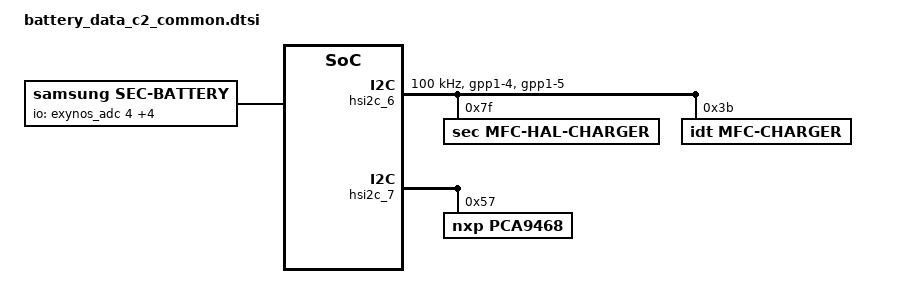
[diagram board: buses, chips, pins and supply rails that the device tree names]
/*
 * SAMSUNG UNIVERSAL9830 board device tree source
 *
 * Copyright (c) 2018 Samsung Electronics Co., Ltd.
 *		http://www.samsung.com
 *
 * This program is free software; you can redistribute it and/or modify
 * it under the terms of the GNU General Public License version 2 as
 * published by the Free Software Foundation.
 */
/ {
	fragment@battery {
		target-path = "/";
		__overlay__ {
			sec-direct-charger {
				status = "okay";
				compatible = "samsung,sec-direct-charger";

				charger,battery_name = "battery";
				charger,main_charger = "max77705-charger";
				charger,direct_charger = "pca9468-charger";

				charger,dchg_min_current = <2000>;
				charger,dchg_temp_low_threshold = <180>;
				charger,dchg_temp_high_threshold = <420>;
			};

			battery {
				status = "okay";
				compatible = "samsung,sec-battery";
				/* battery,irq_gpio = <&gpa1 6 0>; */

				battery,vendor = "Battery";
				battery,charger_name = "sec-direct-charger";
				battery,fuelgauge_name = "max77705-fuelgauge";
				battery,wireless_charger_name = "mfc-charger";
				battery,technology = <2>; /* POWER_SUPPLY_TECHNOLOGY_LION */
				battery,fgsrc_switch_name = "max77705-charger"; /* Fuelgauge voltage source */

				battery,batt_data_version = <2>;

				battery,chip_vendor = "LSI";
				battery,temp_adc_type = <1>; /* SEC_BATTERY_ADC_TYPE_AP */

				battery,temp_check_type = <2>; /* SEC_BATTERY_TEMP_CHECK_TEMP */
				battery,usb_temp_check_type = <2>;
				battery,chg_temp_check_type = <2>;
				battery,wpc_temp_check_type = <2>;
				battery,dchg_temp_check_type = <2>;

				battery,thermal_source = <2>; /* SEC_BATTERY_THERMAL_SOURCE_ADC */
				battery,usb_thermal_source = <2>;
				battery,chg_thermal_source = <2>;
				battery,wpc_thermal_source = <2>;
				battery,dchg_thermal_source = <3>; /* SEC_BATTERY_THERMAL_SOURCE_CHG_ADC */

				battery,polling_time = <10 30 30 30 3600>;

				battery,temp_table_adc = <314 368 425 491 571 663 771 895 1034 1191 1377
					1579 1795 2022 2259 2494 2730 2946 3154 3327 3484 3614 3718>;
				battery,temp_table_data = <900 850 800 750 700 650 600 550 500 450 400
					350 300 250 200 150 100 50 0 (-50) (-100) (-150) (-200)>;

				battery,usb_temp_table_adc = <299 351 410 479 561 657 767 894 1037 1198 1381
					1581 1795 2018 2251 2483 2708 2920 3116 3286 3433 3558 3656>;
				battery,usb_temp_table_data = <900 850 800 750 700 650 600 550 500 450 400
					350 300 250 200 150 100 50 0 (-50) (-100) (-150) (-200)>;

				battery,chg_temp_table_adc = <264 325 383 450 529 623 732 858 998 1153 1346
					1550 1771 2000 2240 2474 2717 2936 3134 3317 3480 3615 3706>;
				battery,chg_temp_table_data = <900 850 800 750 700 650 600 550 500 450 400
					350 300 250 200 150 100 50 0 (-50) (-100) (-150) (-200)>;

				battery,wpc_temp_table_adc = <314 368 425 491 571 663 771 895 1034 1191 1377
					1579 1795 2022 2259 2494 2730 2946 3154 3327 3484 3614 3718>;
				battery,wpc_temp_table_data = <900 850 800 750 700 650 600 550 500 450 400
					350 300 250 200 150 100 50 0 (-50) (-100) (-150) (-200)>;

				battery,dchg_temp_table_adc = <105570 131376 157182 187680 222870 262752 312018 368322 429318 499698 586500
					677994 776526 877404 985320 1088544 1196460 1294992 1379448 1463904 1531938 1590588 1635162>;
				battery,dchg_temp_table_data = <900 850 800 750 700 650 600 550 500 450 400
					350 300 250 200 150 100 50 0 (-50) (-100) (-150) (-200)>;

				battery,wireless_cc_cv = <85>;
				battery,wpc_cc_cv_vout = <5500>;
				battery,wpc_cv_call_vout = <5000>;
				battery,wpc_cc_call_vout = <5000>;
				battery,wpc_det = <&gpa2 0 0>;
				battery,wpc_en = <&gpm10 0 0>;
				battery,wpc_int = <&gpa3 2 0>;
				battery,hv_vout_wa = <0x41>; /* WC vout 10.0V */
				battery,adc_check_count = <5>;

				battery,cable_check_type = <4>; /* SEC_BATTERY_CABLE_CHECK_PSY */
				battery,cable_source_type = <1>; /* SEC_BATTERY_CABLE_SOURCE_EXTERNAL */
				battery,polling_type = <1>; /* SEC_BATTERY_MONITOR_ALARM */
				battery,monitor_initial_count = <0>;

				battery,battery_check_type = <0>; /* SEC_BATTERY_CHECK_NONE */
				battery,check_count = <0>;
				battery,check_adc_max = <1440>;
				battery,check_adc_min = <0>;

				battery,ovp_uvlo_check_type = <3>; /* SEC_BATTERY_OVP_UVLO_CHGPOLLING */

				battery,temp_check_count = <1>;
				battery,temp_highlimit_threshold_event = <700>;
				battery,temp_highlimit_recovery_event = <680>;
				battery,temp_high_threshold_event = <500>;
				battery,temp_high_recovery_event = <480>;
				battery,temp_low_threshold_event = <0>;
				battery,temp_low_recovery_event = <20>;
				battery,temp_highlimit_threshold_normal = <700>;
				battery,temp_highlimit_recovery_normal = <680>;
				battery,temp_high_threshold_normal = <500>;
				battery,temp_high_recovery_normal = <480>;
				battery,temp_low_threshold_normal = <0>;
				battery,temp_low_recovery_normal = <20>;
				battery,temp_highlimit_threshold_lpm = <700>;
				battery,temp_highlimit_recovery_lpm = <680>;
				battery,temp_high_threshold_lpm = <500>;
				battery,temp_high_recovery_lpm = <480>;
				battery,temp_low_threshold_lpm = <0>;
				battery,temp_low_recovery_lpm = <20>;
				battery,wpc_high_threshold_normal = <450>;
				battery,wpc_high_recovery_normal = <430>;
				battery,wpc_low_threshold_normal = <0>;
				battery,wpc_low_recovery_normal = <20>;
				battery,tx_high_threshold = <450>;
				battery,tx_high_recovery = <400>;
				battery,tx_low_threshold = <0>;
				battery,tx_low_recovery = <50>;
				battery,full_check_type = <2>; /* SEC_BATTERY_FULLCHARGED_FUELGAUGE */
				battery,full_check_type_2nd = <2>; /* SEC_BATTERY_FULLCHARGED_FUELGAUGE */
				battery,full_check_count = <1>;
				battery,chg_gpio_full_check = <0>;
				battery,chg_polarity_full_check = <1>;

				battery,chg_high_temp = <550>;
				battery,chg_high_temp_recovery = <490>;

				battery,dchg_high_temp = <530>;
				battery,dchg_high_temp_recovery = <470>;
				battery,dchg_high_batt_temp = <400>;
				battery,dchg_high_batt_temp_recovery = <380>;

				battery,chg_input_limit_current = <1000>;
				battery,chg_charging_limit_current = <1900>;
				battery,dchg_input_limit_current = <1000>;
				battery,dchg_charging_limit_current = <2000>;

				battery,charging_limit_by_tx_check = <1>;
				battery,charging_limit_current_by_tx = <1200>;

				battery,wpc_temp_control_source = <1>; /* TEMP_CONTROL_SOURCE_BAT_THM = WPC_THM */
				battery,wpc_high_temp = <390>;
				battery,wpc_high_temp_recovery = <370>;
				battery,wpc_input_limit_current = <600>;
				battery,wpc_charging_limit_current = <1000>;
				battery,wpc_temp_lcd_on_control_source = <1>; /* TEMP_CONTROL_SOURCE_BAT_THM = WPC_THM */
				battery,wpc_lcd_on_high_temp = <390>;
				battery,wpc_lcd_on_high_temp_rec = <370>;
				battery,wpc_lcd_on_input_limit_current = <450>;

				battery,wpc_store_high_temp = <360>;
				battery,wpc_store_high_temp_recovery = <340>;
				battery,wpc_store_lcd_on_high_temp = <360>;
				battery,wpc_store_lcd_on_high_temp_rec = <300>;
				battery,wpc_store_lcd_on_charging_limit_current = <400>;

				battery,sleep_mode_limit_current = <800>;
				battery,wc_full_input_limit_current = <100>;

				battery,mix_high_temp = <420>;
				battery,mix_high_chg_temp = <500>;
				battery,mix_high_dc_temp = <580>;
				battery,mix_high_temp_recovery = <390>;

				/* SEC_BATTERY_FULL_CONDITION_NOTIMEFULL | SEC_BATTERY_FULL_CONDITION_VCELL */
				battery,full_condition_type = <9>;
				battery,full_condition_soc = <93>;
				battery,full_condition_vcell = <4370>;

				battery,recharge_check_count = <1>;
				battery,recharge_condition_type = <4>; /* SEC_BATTERY_RECHARGE_CONDITION_VCELL */
				battery,recharge_condition_soc = <98>;
				battery,recharge_condition_vcell = <4350>;

				battery,charging_total_time = <14400>;
				battery,hv_charging_total_time = <10800>;
				battery,normal_charging_total_time = <18000>;
				battery,usb_charging_total_time = <36000>;
				battery,recharging_total_time = <5400>;
				battery,charging_reset_time = <0>;

				battery,chg_float_voltage = <4420>;
				battery,chg_ocp_current = <6200>;
				battery,chg_ocp_dtc = <100>;

				battery,swelling_high_temp_block = <420>;
				battery,swelling_high_temp_recov = <400>;
				battery,swelling_low_temp_block_1st = <150>;
				battery,swelling_low_temp_recov_1st = <170>;
				battery,swelling_low_temp_block_2nd = <50>;
				battery,swelling_low_temp_recov_2nd = <70>;
				battery,swelling_low_temp_3rd_ctrl;
				battery,swelling_low_temp_block_3rd = <180>;
				battery,swelling_low_temp_recov_3rd = <200>;

				battery,swelling_low_temp_current = <1048>;	/* 0.24C */
				battery,swelling_low_temp_current_2nd = <437>;	/* 0.1C */
				battery,swelling_low_temp_current_3rd = <3146>;	/* 0.72C */
				battery,swelling_low_temp_topoff = <218>;	/* 0.05C */
				battery,swelling_high_temp_current = <1573>;	/* 0.36C */
				battery,swelling_high_temp_topoff = <218>;	/* 0.05C */
				battery,swelling_wc_high_temp_current = <1048>;	/* 0.24C */
				battery,swelling_wc_low_temp_current = <1048>;	/* 0.24C */
 				battery,swelling_wc_low_temp_current_2nd = <437>;	/* 0.1C */
				battery,swelling_wc_low_temp_current_3rd = <3146>;	/* 0.72C */
				battery,swelling_low_rechg_thr = <150>;

				battery,swelling_drop_float_voltage = <4200>;
				battery,swelling_high_rechg_voltage = <4050>;
				battery,swelling_low_rechg_voltage = <4000>;
				battery,wa_float_voltage = <4050>;

				battery,siop_event_check_type = <1>;
				battery,siop_call_cv_current = <300>;
				battery,siop_call_cc_current = <300>;

				battery,siop_input_limit_current = <1200>;
				battery,siop_charging_limit_current = <1000>;
				battery,siop_hv_input_limit_current = <700>;
				battery,siop_hv_charging_limit_current = <1000>;
				battery,siop_apdo_input_limit_current = <1200>;
				battery,siop_apdo_charging_limit_current = <2000>;

				battery,siop_wireless_input_limit_current = <600>;
				battery,siop_wireless_charging_limit_current = <1000>;
				battery,siop_hv_wireless_input_limit_current = <700>;
				battery,siop_hv_wireless_charging_limit_current = <1000>;
				battery,siop_store_hv_wireless_input_limit_current = <450>;
				battery,store_mode_buckoff;

				battery,ttf_hv_charge_current = <2600>;
				battery,ttf_hv_wireless_charge_current = <1355>;
				battery,ttf_wireless_charge_current = <815>;
				battery,ttf_dc25_charge_current = <4000>;
				battery,ttf_dc45_charge_current = <5200>;

				battery,rp_current_rp1 = <500>;
				battery,rp_current_rp2 = <1500>;
				battery,rp_current_rp3 = <3000>;
				battery,rp_current_rdu_rp3 = <2100>;
				battery,rp_current_abnormal_rp3 = <1800>;

				battery,pd_charging_charge_power = <15000>;
				battery,max_charging_current = <3150>;
				battery,max_charging_charge_power = <25000>; /* 25W */
				battery,battery_full_capacity = <4500>;

				/* cycle, chg_float_voltage, recharge_condition_vcell, full_condition_vcell, full_condition_soc */
				battery,age_data = <0 4420 4350 4370 93
						200 4400 4330 4350 92
						300 4380 4310 4330 91
						700 4360 4290 4310 90
						1000 4310 4240 4260 89>;

				battery,health_condition = <
					/* CYCLE ASOC */
					900 75	/* GOOD */
					1200 65 /* NORMAL */
					1500 55 /* AGED */
					>;

				/* step charging option */
				battery,step_charging_type = <0>;

				/* direct step charging option */
				battery,dc_step_chg_type = <0xE9>;
				battery,dc_step_chg_charge_power = <22000>;
				battery,dc_step_chg_step = <3>;
				battery,dc_step_chg_step_2nd = <0>;
				battery,dc_step_chg_cond_vol = <4150 4265 4420>; /*<25w 3step> STEP_CHARGING_CONDITION_VOLTAGE */
				battery,dc_step_chg_cond_iin = <2030 1625 0>; /* <25w 3step> STEP_CHARGING_CONDITION_INPUT_CURRENT */
				battery,dc_step_chg_iin_check_cnt = <3>;
				battery,dc_step_chg_val_vfloat = <4150 4265 4420>; /* <25w 3step> STEP_CHARGING_CONDITION_FLOAT_VOLTAGE */
				battery,dc_step_chg_val_iout = <5280 4060 3250>; /* <25w 3step> */
				battery,dc_step_chg_cond_soc = <30 55 100 30 55 100 30 55 100 30 55 100 30 55 100>; /* <25w 3step> STEP_CHARGING_CONDITION_SOC */

				battery,pre_afc_input_current = <500>; /* mA */
				battery,prepare_ta_delay = <0>; /* msec */

				battery,max_input_voltage = <9000>; /* mV */
				battery,max_input_current = <3000>;  /* mA */

				battery,enable_sysovlo_irq;
				battery,enable_noise_wa;
				battery,dis_auto_shipmode_temp_ctrl;

				battery,standard_curr = <3250>;
				battery,expired_time = <10800>;
				battery,recharging_expired_time = <5400>;

				battery,cisd_max_voltage_thr = <4470>; /* battery ovp detection voltage */

				battery,cisd_alg_index = <8>;
				battery,ignore_cisd_index = <0 0>;
				battery,ignore_cisd_index_d = <0 80>; /* Do not use BUCK_OFF_PER_DAY, DROP_SENSOR_PER_DAY */

				battery,tx_stop_capacity = <30>;
				battery,tx_minduty_default = <20>;
				battery,tx_minduty_5V = <50>;

				battery,tx_uno_iout = <1500>;
				battery,tx_mfc_iout_gear = <1500>;
				battery,tx_mfc_iout_phone = <1100>;
				battery,tx_mfc_iout_phone_5v = <300>;
				battery,tx_mfc_iout_lcd_on = <900>;

				battery,support_unknown_wpcthm;

				io-channels = <&exynos_adc 4>, <&exynos_adc 3>, <&exynos_adc 11>, <&exynos_adc 4>, <&exynos_adc 1>;
				io-channel-names = "adc-temp", "adc-chg-temp", "adc-in-bat", "adc-wpc-temp", "adc-usb-temp";
				#io-channel-cells = <5>;
				io-channel-ranges;

				battery,snkcap_data = /bits/ 8 <0x04 0x2C 0x91 0x01 0x36 0xC8 0xD0 0x02 0x00 0xC8 0x90
								0x41 0x8B 0x34 0x21 0xDC 0xC0>;
			};

			max77705-fuelgauge {
				status = "okay";
				fuelgauge,fuel_alert_soc = <1>;
				fuelgauge,jig_gpio = <&gpm23 0 0>;
				fuelgauge,jig_low_active;
				fuelgauge,capacity_max = <1000>;
				fuelgauge,capacity_max_margin = <300>;
				fuelgauge,capacity_min = <0>;
				fuelgauge,capacity_calculation_type = <0x5C>;
				fuelgauge,repeated_fuelalert;
				fuelgauge,using_temp_compensation;
				fuelgauge,low_temp_limit = <100>;
				fuelgauge,vempty_recover_time = <180>; /* 3 mins */
				fuelgauge,using_hw_vempty;
				fuelgauge,v_empty = <0xA7E2>; /* Empty: 3400mV, Recover: 4000mV */
				fuelgauge,v_empty_origin = <0x7D54>; /* Empty: 2500mV, Recover: 3360mV */
				fuelgauge,sw_v_empty_voltage = <3200>;
				fuelgauge,sw_v_empty_voltage_cisd = <3100>;
				fuelgauge,sw_v_empty_recover_voltage = <3480>;
				fuelgauge,qrtable20 = <0x0D00>;
				fuelgauge,qrtable30 = <0x0B00>;
				fuelgauge,fg_resistor = <2>;
				fuelgauge,capacity = <0x0FDC>;
				/* fullcapnom(=capacity), dPacc, dQacc,  rcomp0, tempco */
				fuelgauge,fg_reset_wa_data = <0x0FDC 0x3200 0x03F7 0x002D 0x1420>;
				/*fuelgauge,auto_discharge_en;*/
				fuelgauge,discharge_temp_threshold = <600>;
				fuelgauge,discharge_volt_threshold = <4200>;

				fuelgauge,lost_soc_trig_soc = <1000>; /* 100.0% */
				fuelgauge,lost_soc_trig_d_soc = <20>; /* 2% */
				fuelgauge,lost_soc_trig_scale = <2>; /* 2x */
				fuelgauge,lost_soc_guarantee_soc = <30>; /* 3.0% */
				fuelgauge,lost_soc_min_vol = <3200>; /* 3200mV */

				fuelgauge,ttf_capacity = <3500>;
				fuelgauge,cv_data = <
					3228	864	1534
					3067	872	1493
					2896	881	1442
					2695	892	1380
					2492	902	1293
					2263	910	1205
					2103	920	1108
					1911	930	1000
					1722	942	871
					1532	950	763
					1338	960	685
					1213	969	486
					1073	980	307
					932		990	115
					571		1000	0
				>;
			};

			/* sec_battery_cable
			 *   0	UNKNOWN,
			 *   1	NONE,
			 *   2	PREPARE_TA,
			 *   3	TA,
			 *   4	USB,
			 *   5	USB_CDP,
			 *   6	9V_TA,
			 *   7	9V_ERR,
			 *   8	9V_UNKNOWN,
			 *   9	12V_TA,
			 *  10	WIRELESS,
			 *  11	HV_WIRELESS,
			 *  12	PMA_WIRELESS,
			 *  13	WIRELESS_PACK,
			 *  14	WIRELESS_HV_PACK,
			 *  15	WIRELESS_STAND,
			 *  16	WIRELESS_HV_STAND,
			 *  17	QC20,
			 *  18	QC30,
			 *  19	PDIC,
			 *  20	UARTOFF,
			 *  21	OTG,
			 *  22	LAN_HUB,
			 *  23	POWER_SHARING,
			 *  24	HMT_CONNECTED,
			 *  25	HMT_CHARGE,
			 *  26	HV_TA_CHG_LIMIT,
			 *  27	WIRELESS_VEHICLE,
			 *  28	WIRELESS_HV_VEHICLE,
			 *  29	PREPARE_WIRELESS_HV,
			 *  30	TIMEOUT,
			 *  31	SMART_OTG,
			 *  32	SMART_NOTG,
			 *  33	WIRELESS_TX,
			 *  34	HV_WIRELESS_20,
			 *  35	HV_WIRELESS_20_LIMIT,
			 *  36	WIRELESS_FAKE,
			 *  37  PREPARE_WIRELESS_20,
			 *  38	CABLE_PDIC_APDO,
			 *  39	CABLE_MAX,
			 */

			cable-info {
				default_input_current = <1800>;
				default_charging_current = <2100>;
				full_check_current_1st = <655>;
				full_check_current_2nd = <218>;

				current_group_1 {
					cable_number = <2 19 21 22 23 30>;
					input_current = <500>;
					charging_current = <500>;
				};
				current_group_2 {
					cable_number = <25 31>;
					input_current = <1000>;
					charging_current = <1000>;
				};
				current_group_3 {
					cable_number = <5 32>;
					input_current = <1500>;
					charging_current = <1500>;
				};
				current_group_4 {
					cable_number = <6 7 8>;
					input_current = <1650>;
					charging_current = <3150>;
				};
				current_group_5 {
					cable_number = <9>;
					input_current = <1650>;
					charging_current = <3150>;
				};
				current_group_6 {
					cable_number = <10 12 15 27 33 35>;
					input_current = <800>;
					charging_current = <3150>;
				};
				current_group_7 {
					cable_number = <13>;
					input_current = <700>;
					charging_current = <3150>;
				};
				current_group_8 {
					cable_number = <24>;
					input_current = <1000>;
					charging_current = <450>;
				};
				current_group_9 {
					cable_number = <26>;
					input_current = <2000>;
					charging_current = <1800>;
				};
				current_group_10 {
					cable_number = <11 14 16 28>;
					input_current = <750>;
					charging_current = <3150>;
				};
				current_group_11 {
					cable_number = <29 36 37>;
					input_current = <500>;
					charging_current = <1400>;
				};
				current_group_12 {
					cable_number = <1 4>;
					input_current = <475>;
					charging_current = <550>;
				};
				current_group_13 {
					cable_number = <34>;
					input_current = <500>;
					charging_current = <3150>;
				};
			};
			wireless-power-info {
				current_group_0 {
					wireless_power_class = <1>;
					vout = <5500>;
					input_current_limit = <800>;
					fast_charging_current = <3150>;
					ttf_charge_current = <815>;
					rx_power = <4500>;
				};
				current_group_1 {
					wireless_power_class = <2>;
					vout = <10000>;
					input_current_limit = <750>;
					fast_charging_current = <3150>;
					ttf_charge_current = <1355>;
					rx_power = <7500>;
				};
				current_group_2 {
					wireless_power_class = <2>;
					vout = <11000>;
					input_current_limit = <1100>;
					fast_charging_current = <3150>;
					ttf_charge_current = <1800>;
					rx_power = <12000>;
				};
				current_group_3 {
					wireless_power_class = <2>;
					vout = <11000>;
					input_current_limit = <1300>;
					fast_charging_current = <3150>;
					ttf_charge_current = <2550>;
					rx_power = <14000>;
				};
			};
		}; /* end of __overlay__ */
	}; /* end of fragment */
};

&pinctrl_0 {
	wpc_det: wpc-det {
		samsung,pins = "gpa2-0";
		samsung,pin-function = <0xf>;
		samsung,pin-pud = <0>;
		samsung,pin-drv = <0>;
	};

	wpc_int: wpc-int {
		samsung,pins = "gpa3-1";
		samsung,pin-function = <0xf>;
		samsung,pin-pud = <0>;
		samsung,pin-drv = <0>;
	};
};

&pinctrl_1 {
	wpc_en: wpc-en {
		samsung,pins = "gpm10-0";
		samsung,pin-function = <0x1>;
		samsung,pin-pud = <0>;
		samsung,pin-drv = <0>;
	};
};

&pinctrl_4 {
	mfc_i2c: mfc-i2c {
		samsung,pins = "gpp1-4", "gpp1-5";
		samsung,pin-function = <2>;
		samsung,pin-pud = <0>;
		samsung,pin-drv = <0>;
		samsung,pin-con-pdn = <3>;
		samsung,pin-pud-pdn = <0>;
	};
};

&hsi2c_6 {
	#address-cells = <1>;
	#size-cells = <0>;
	status = "okay";
	pinctrl-names = "default";
	pinctrl-0 = <&mfc_i2c>;
	samsung,stop-after-trans;
	samsung,stand-mode;
	clock-frequency = <100000>;

	mfc-hal-charger@7f {
		compatible = "sec,mfc-hal-charger";
		reg = <0x7f>;
		status = "okay";

		battery,wpc_det = <&gpa2 0 0>;

		battery,charger_name = "max77705-charger";
	};

	mfc-charger@3b {
		compatible = "idt,mfc-charger";
		reg = <0x3b>;
		status = "okay";

		pinctrl-names = "default";
		pinctrl-0 = <&wpc_det &wpc_en &wpc_int>;

		battery,wpc_int = <&gpa3 1 0>;
		battery,wpc_det = <&gpa2 0 0>;
		battery,mst_pwr_en = <&gpm18 0 0>;
		battery,wpc_en = <&gpm10 0 0>;

		battery,charger_name = "max77705-charger";
		battery,fuelgauge_name = "max77705-fuelgauge";
		battery,wireless_charger_name = "mfc-charger";
		battery,wc_cover_rpp = <0x44>;
		battery,phone_fod_threshold = <0x3b>;
		battery,wireless20_vout_list = <9 9 9>; /* WIRELESS_VOUT_11V, 11V, 11V */
		battery,wireless20_vrect_list = <10 11 11>; /* MFC_AFC_CONF_12V_TX, 12.5V, 12.5V */
		battery,wireless20_max_power_list = <2 3 3>; /* SEC_WIRELESS_RX_POWER_12W, 15W, 15W */
		battery,oc_fod1 = <1100>;
		battery,tx_gear_min_op_freq_delay = <4000>;
	};
};

&hsi2c_7 {
	status = "okay";
	pca9468@57 {
		compatible = "nxp,pca9468";
		reg = <0x57>;

		pca9468,input-current-limit = <2550000>; /* 2.55A */
		pca9468,charging-current = <6000000>; /* 6A */
		pca9468,ta-max-vol = <10000000>; /* 10.0V */
		pca9468,input-itopoff = <500000>; /* 500mA */
		pca9468,sense-resistance = <0>; /* 5mOhm */
		pca9468,switching-frequency = <3>; /* 980KHz */
		pca9468,ntc-threshold = <0>; /* disable */
		pca9468,ta-mode = <1>; /* 2:1 charging mode */
		pca9468,cv-polling = <2000>; /* 2s */
	};
};

